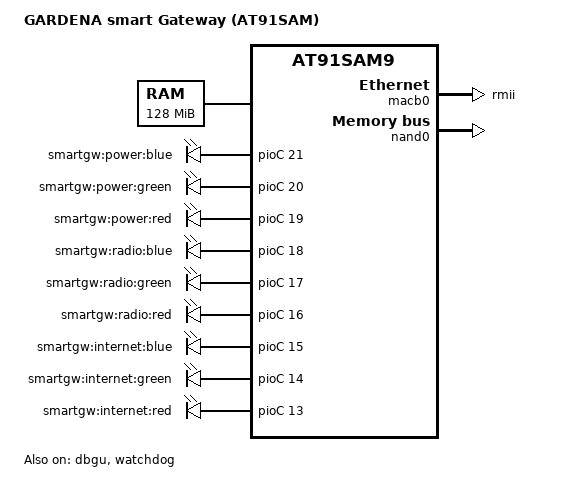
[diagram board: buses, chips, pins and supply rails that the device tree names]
// SPDX-License-Identifier: GPL-2.0+
/*
 * Device Tree file for the GARDENA smart Gateway (AT91SAM)
 *
 *  Copyright (C) 2012 Atmel,
 *                2012 Nicolas Ferre <nicolas.ferre@atmel.com>
 */

/dts-v1/;

#include "at91sam9g25.dtsi"

/ {
	model = "GARDENA smart Gateway (AT91SAM)";
	compatible = "gardena,smart-gateway-at91sam", "atmel,at91sam9";

	aliases {
		serial0 = &dbgu;
	};

	chosen {
		stdout-path = "serial0:115200n8";
	};

	memory {
		reg = <0x20000000 0x8000000>;
	};

	clocks {
		slow_xtal {
			clock-frequency = <32768>;
		};

		main_xtal {
			clock-frequency = <12000000>;
		};
	};

	leds {
		compatible = "gpio-leds";

		power_blue {
			label = "smartgw:power:blue";
			gpios = <&pioC 21 GPIO_ACTIVE_HIGH>;
			default-state = "off";
		};

		power_green {
			label = "smartgw:power:green";
			gpios = <&pioC 20 GPIO_ACTIVE_HIGH>;
			default-state = "on";
		};

		power_red {
			label = "smartgw:power:red";
			gpios = <&pioC 19 GPIO_ACTIVE_HIGH>;
			default-state = "off";
		};

		radio_blue {
			label = "smartgw:radio:blue";
			gpios = <&pioC 18 GPIO_ACTIVE_HIGH>;
			default-state = "off";
		};

		radio_green {
			label = "smartgw:radio:green";
			gpios = <&pioC 17 GPIO_ACTIVE_HIGH>;
			default-state = "off";
		};

		radio_red {
			label = "smartgw:radio:red";
			gpios = <&pioC 16 GPIO_ACTIVE_HIGH>;
			default-state = "off";
		};

		internet_blue {
			label = "smartgw:internet:blue";
			gpios = <&pioC 15 GPIO_ACTIVE_HIGH>;
			default-state = "off";
		};

		internet_green {
			label = "smartgw:internet:green";
			gpios = <&pioC 14 GPIO_ACTIVE_HIGH>;
			default-state = "off";
		};

		internet_red {
			label = "smartgw:internet:red";
			gpios = <&pioC 13 GPIO_ACTIVE_HIGH>;
			default-state = "off";
		};
	};
};

&dbgu {
	status = "okay";
};

&macb0 {
	phy-mode = "rmii";
	status = "okay";
};

&nand0 {
	nand-bus-width = <8>;
	nand-ecc-mode = "hw";
	atmel,has-pmecc;	/* Enable PMECC */
	atmel,pmecc-cap = <2>;
	atmel,pmecc-sector-size = <512>;
	nand-on-flash-bbt;
	status = "okay";
};

&watchdog {
	status = "okay";
	timeout-sec = <16>;
};
